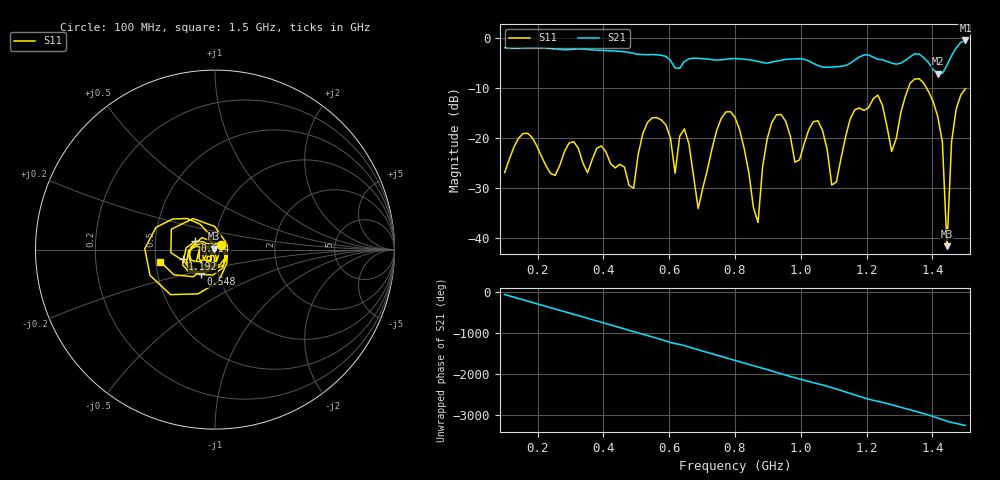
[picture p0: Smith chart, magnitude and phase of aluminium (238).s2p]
! NanoVNA-App
! Date: 2025-09-25 14:57:08
! Start: 100MHz Stop: 1,5GHz Points: 101
! S-Parameter data: F S11 S21 S12 S22
# Hz S RI R 50
!  Frequency  S11_Real  S11_Imag  S21_Real  S21_Imag  S12_Real  S12_Imag  S22_Real  S22_Imag
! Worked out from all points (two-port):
!   101 points, 100 MHz to 1.5 GHz, reference 50 ohm
!   highest |S21| = -0.47 dB at 1.5 GHz (marker M1); lowest = -7.1 dB at 1.416 GHz (marker M2)
!   |S21| within 3 dB of the highest: start of sweep to 577.3 MHz; 1.459 GHz to end of sweep (the widest 2 of 4)
!   lowest |S11| = -41.7 dB at 1.444 GHz (marker M3), VSWR 1.02, Z = 49.4 + j0.55 ohm
!   |S11| at or under -10 dB: start of sweep to 1.327 GHz; 1.382 GHz to end of sweep
!   S12 and S22 are empty: the file has one direction only
!   S11 on the Smith chart (normalised r, x): 100 MHz: 1.07, +0.06; 548 MHz: 0.82, -0.23; 814 MHz: 0.80, +0.07; 1.192 GHz: 0.69, -0.08; 1.5 GHz: 0.53, -0.08
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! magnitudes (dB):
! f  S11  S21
! 100 MHz  -27.0  -1.9
! 338 MHz  -25.1  -2.2
! 492 MHz  -30.1  -3.1
! 548 MHz  -16.0  -3.3
! 576 MHz  -16.4  -3.5
! 618 MHz  -27.1  -6.0
! 646 MHz  -18.2  -4.7
! 688 MHz  -34.2  -4.1
! 800 MHz  -15.9  -4.1
! 814 MHz  -18.4  -4.2
! 870 MHz  -37.0  -4.7
! 912 MHz  -16.9  -4.8
! 982 MHz  -24.9  -4.2
! 1.038 GHz  -16.8  -5.1
! 1.094 GHz  -29.5  -5.8
! 1.192 GHz  -14.5  -3.4
! 1.276 GHz  -22.7  -5.0
! 1.346 GHz  -8.2  -3.1
! 1.416 GHz  -15.7  -7.1
! 1.444 GHz  -41.7  -5.5
! 1.458 GHz  -20.8  -3.5
! 1.5 GHz  -10.1  -0.5
